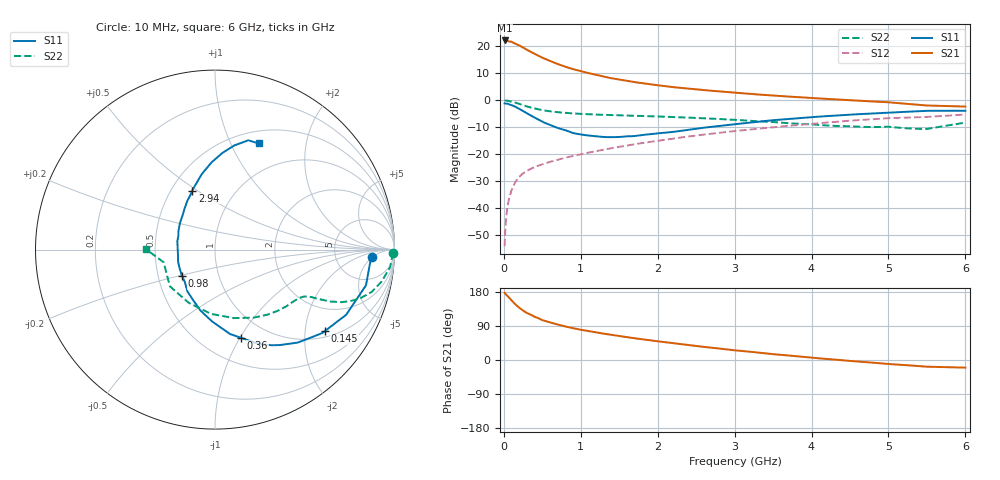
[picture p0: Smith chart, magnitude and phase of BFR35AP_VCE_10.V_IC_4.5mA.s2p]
! Infineon Technologies  Discrete & RF Semiconductors
! BFR35AP
! VCE =  10. V,  IC =  4.5 mA
! Common Emitter S-Parameters:  Nov 2015
# GHz  S  MA  R  50
!  f  S11  S21  S12  S22
! GHz  MAG  ANG  MAG  ANG  MAG  ANG  MAG  ANG
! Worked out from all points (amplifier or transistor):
!   210 points, 10 MHz to 6 GHz, reference 50 ohm
!   highest |S21| = 22.1 dB at 10 MHz (marker M1)
!   |S21| within 3 dB of that: start of sweep to 273.7 MHz
!   unconditionally stable (mu >= 1): 892.4 MHz to 2.984 GHz
!   at 185 MHz: K = 0.34, MSG = 24.7 dB, |S12| = -28.9 dB
!   at 1.52 GHz: K = 1.11, MAG = 10.4 dB, |S12| = -17.1 dB
!   at 6 GHz: K = 0.89, MSG = 1.5 dB, |S12| = -5.3 dB
!   S11 on the Smith chart (normalised r, x): 10 MHz: 13, -5; 145 MHz: 1.17, -2.54; 360 MHz: 0.76, -1.01; 980 MHz: 0.67, -0.21; 2.94 GHz: 0.64, +0.48; 6 GHz: 0.64, +1.28
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0.01  0.8735 -2.8  12.75 177.4  0.002 91.0  0.994 -1.1
0.02  0.8666 -5.3  12.45 174.8  0.0042 85.3  0.9881 -2.3
0.04  0.8633 -10.6  12.42 170.4  0.0089 84.1  0.9828 -4.6
0.1  0.816 -26.4  12.05 157.3  0.0216 76.0  0.9452 -10.9
0.145  0.7621 -36.6  11.16 147.9  0.0297 70.5  0.9072 -14.8
0.2  0.6939 -48.3  10.35 138.0  0.0383 66.4  0.8555 -18.4
0.24  0.6429 -55.8  9.631 131.9  0.0432 63.3  0.8157 -20.4
0.3  0.5753 -65.6  8.555 124.1  0.0494 60.9  0.7654 -22.5
0.36  0.5128 -73.5  7.714 118.5  0.0547 59.1  0.7282 -23.5
0.4  0.4777 -79.9  7.202 114.1  0.0583 58.1  0.7035 -24.3
0.5  0.4007 -92.3  6.11 105.3  0.0654 57.2  0.6547 -25.2
0.6  0.3491 -103.4  5.312 99.0  0.0725 56.9  0.6225 -25.8
0.8  0.2791 -123.4  4.151 88.4  0.0866 57.5  0.5834 -26.7
0.98  0.2354 -140.8  3.504 80.7  0.0989 58.2  0.5615 -27.8
1.02  0.2306 -144.8  3.388 79.1  0.1016 58.4  0.5576 -28.1
1.4  0.2078 -178.6  2.55 66.3  0.1295 59.2  0.5316 -31.8
2.02  0.2457 142.4  1.878 48.8  0.1803 57.7  0.4998 -40.4
2.94  0.3517 111.1  1.401 27.0  0.2631 51.6  0.4399 -58.9
3.1  0.3724 107.5  1.343 23.8  0.2779 50.0  0.426 -63.0
4.1  0.4981 90.6  1.079 4.4  0.3763 39.7  0.3488 -97.9
5.1  0.599 78.1  0.892 -11.8  0.47 25.8  0.3135 -145.5
6  0.6391 67.7  0.764 -20.1  0.544 14.9  0.3859 179.6
